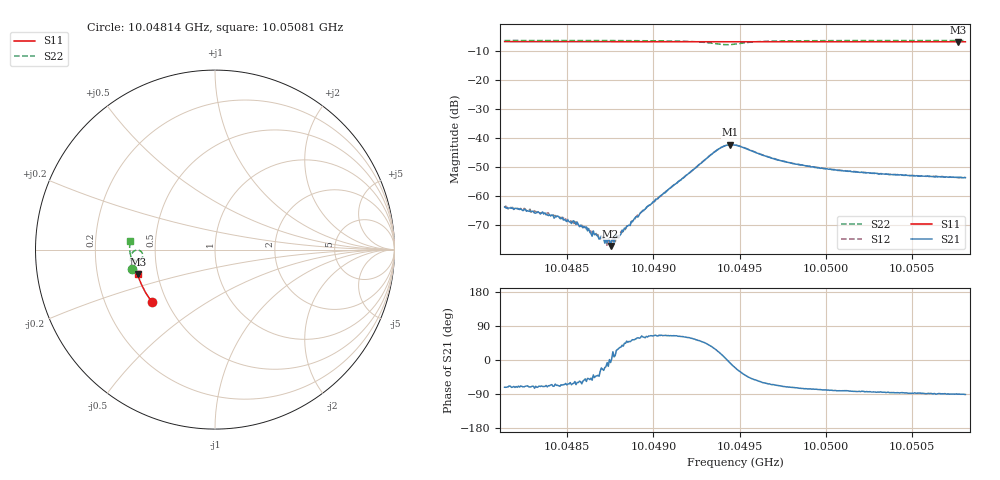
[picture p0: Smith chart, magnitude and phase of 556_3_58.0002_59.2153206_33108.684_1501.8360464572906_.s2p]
#  HZ  S  RI  R  50.00
! Rohde & Schwarz Vector Network Analyzer
! Rohde-Schwarz,ZNB20-2Port,1311601062101988,3.16
! Created: UTC 3/21/2024, 1:15:13 AM
! freq[Hz]  re:S11  im:S11  re:S21  im:S21  re:S12  im:S12  re:S22  im:S22
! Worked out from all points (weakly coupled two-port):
!   401 points, 10.04814 GHz to 10.05081 GHz, reference 50 ohm
!   highest |S21| = -42.25 dB at 10.04945 GHz (marker M1); lowest = -77.1 dB at 10.04875 GHz (marker M2)
!   lowest |S11| = -6.9 dB at 10.05077 GHz (marker M3), VSWR 2.65, Z = 19.3 - j6.66 ohm
!   |S11| at or under -10 dB: nowhere
!   |S22| runs from -7.9 to -6.4 dB; largest |S21 - S12| = 0.00055
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1.0048137e10  -0.3527 -0.2904  0.000205 -0.000625  0.000254 -0.000603  -0.4647 -0.1098
1.0048364e10  -0.3616 -0.2784  0.000173 -0.000471  0.000226 -0.000444  -0.4678 -0.0938
1.0048545e10  -0.3685 -0.2685  0.000195 -0.000298  0.000186 -0.000262  -0.4696 -0.0806
1.0048585e10  -0.3701 -0.2664  0.000139 -0.000271  0.000209 -0.000241  -0.4697 -0.0775
1.0048665e10  -0.373 -0.262  0.000166 -0.000153  0.000196 -0.000129  -0.4704 -0.0712
1.0048692e10  -0.3738 -0.2605  0.000167 -9.54e-05  0.000162 -9.2e-05  -0.4705 -0.0692
1.0048732e10  -0.3753 -0.2582  0.000161 -1.93e-05  0.000137 -2.34e-05  -0.4708 -0.066
1.0048752e10  -0.376 -0.2571  0.000139 -1.64e-05  0.000176 4.57e-05  -0.4706 -0.0641
1.0048758e10  -0.3763 -0.2568  0.000176 1.01e-05  0.000165 5e-05  -0.4707 -0.0637
1.0048778e10  -0.3769 -0.2557  0.000205 4.32e-05  0.000153 5.17e-05  -0.4709 -0.062
1.0048805e10  -0.378 -0.2541  0.00018 0.000117  0.000184 0.000127  -0.4709 -0.0598
1.0048912e10  -0.3816 -0.2483  0.000232 0.000381  0.000231 0.000431  -0.4707 -0.0502
1.0049032e10  -0.3857 -0.2414  0.000401 0.000877  0.000331 0.000914  -0.469 -0.0378
1.004936e10  -0.3956 -0.2222  0.00522 0.00282  0.0051 0.00313  -0.4209 -0.00461
1.0049406e10  -0.3969 -0.2197  0.00713 0.00124  0.00705 0.00169  -0.4052 -0.0198
1.0049446e10  -0.3979 -0.2177  0.00763 -0.00115  0.00771 -0.000632  -0.4037 -0.0408
1.0049473e10  -0.3989 -0.2162  0.00714 -0.00262  0.00738 -0.00218  -0.4102 -0.0526
1.0049714e10  -0.4063 -0.2024  0.0017 -0.00393  0.00194 -0.00388  -0.4653 -0.0424
1.0049921e10  -0.4119 -0.19  0.000731 -0.00314  0.000933 -0.00308  -0.4731 -0.0193
1.0050368e10  -0.4227 -0.1626  0.000157 -0.00235  0.000355 -0.00237  -0.4753 0.0179
1.0050769e10  -0.4308 -0.1377  5.51e-07 -0.00211  0.000129 -0.00211  -0.4736 0.0466
1.0050809e10  -0.4316 -0.1353  -3.62e-05 -0.0021  5.11e-05 -0.00211  -0.4733 0.0494
